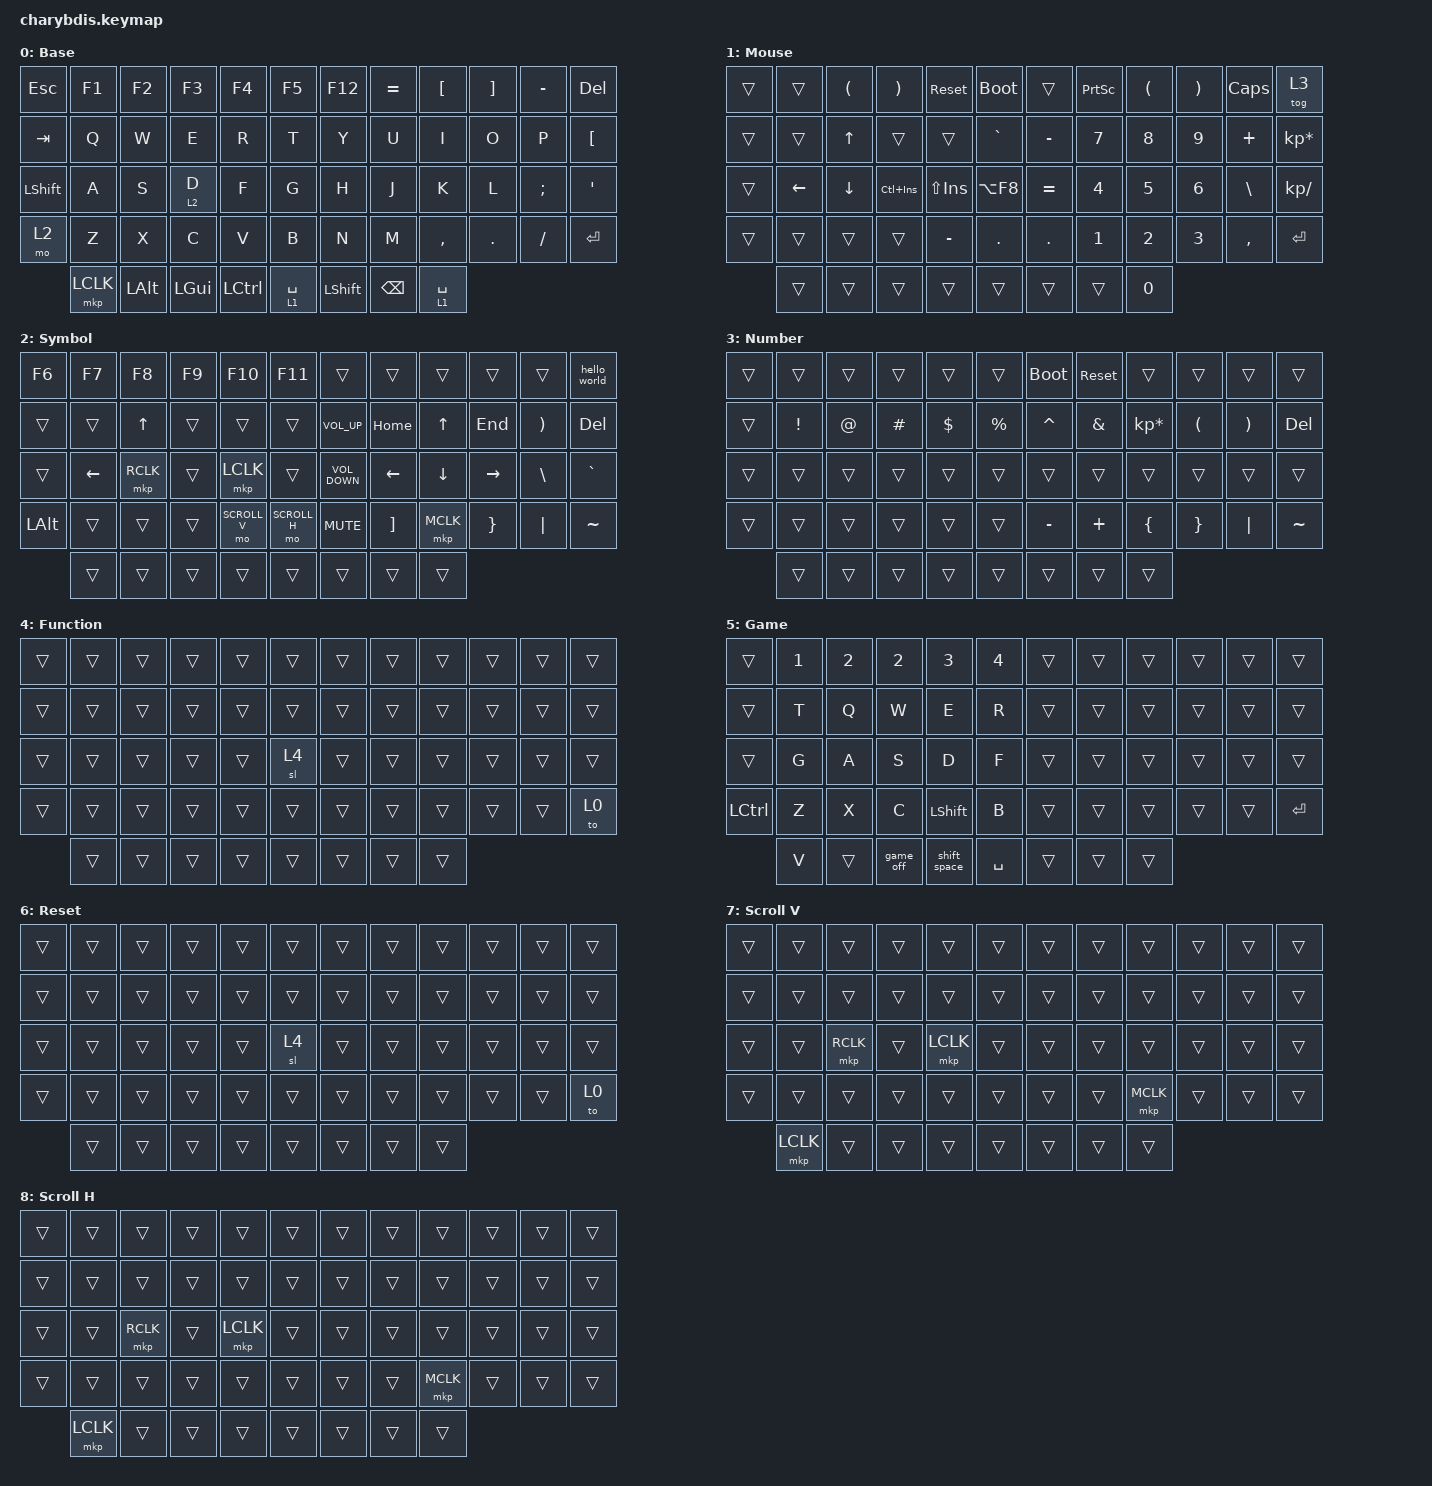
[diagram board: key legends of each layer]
#include <behaviors.dtsi>
#include <dt-bindings/zmk/keys.h>
#include <dt-bindings/zmk/pointing.h>

#define BASE 0
#define MOUSE 1
#define SYMBOL 2
#define NUMBER 3
#define FUNCTION 4
#define GAME 5
#define RESET 6
#define SCROLL_V 7
#define SCROLL_H 8

#define KEYS_L 0 1 2 3 4 10 11 12 13 14 20 21 22 23 24
#define KEYS_R 5 6 7 8 9 15 16 17 18 19 25 26 27 28 29
#define THUMBS 30 31 32 33 34 35 

&sk {
  release-after-ms = <600>;
  quick-release;
};

&sl {
  ignore-modifiers;
};

&mt {
  flavor = "tap-preferred";
};

&lt {
  flavor = "balanced";
  tapping-term-ms = <200>;
  quick-tap-ms = <175>;
};

&caps_word {
  /delete-property/ ignore-modifiers;
};

/ {
  behaviors {
    hml: hml {
      compatible = "zmk,behavior-hold-tap";
      #binding-cells = <2>;
      flavor = "balanced";
      tapping-term-ms = <2000>;
      quick-tap-ms = <175>;
      require-prior-idle-ms = <250>;
      hold-trigger-key-positions = <KEYS_R THUMBS>;
      hold-trigger-on-release;
      bindings =
        <&kp>,
        <&kp>;
    };

    hmr: hmr {
      compatible = "zmk,behavior-hold-tap";
      #binding-cells = <2>;
      flavor = "balanced";
      tapping-term-ms = <2000>;
      quick-tap-ms = <175>;
      require-prior-idle-ms = <250>;
      hold-trigger-key-positions = <KEYS_L THUMBS>;
      hold-trigger-on-release;
      bindings =
        <&kp>,
        <&kp>;
    };
    hml_s: hml_s {
      compatible = "zmk,behavior-hold-tap";
      #binding-cells = <2>;
      flavor = "balanced";
      tapping-term-ms = <2000>;
      quick-tap-ms = <175>;
      require-prior-idle-ms = <0>;
      hold-trigger-key-positions = <KEYS_R THUMBS>;
      hold-trigger-on-release;
      bindings =
        <&kp>,
        <&kp>;
    };

    hmr_s: hmr_s {
      compatible = "zmk,behavior-hold-tap";
      #binding-cells = <2>;
      flavor = "balanced";
      tapping-term-ms = <2000>;
      quick-tap-ms = <175>;
      require-prior-idle-ms = <0>;
      hold-trigger-key-positions = <KEYS_L THUMBS>;
      hold-trigger-on-release;
      bindings =
        <&kp>,
        <&kp>;
    };

    smart_shift: smart_shift {
      compatible = "zmk,behavior-mod-morph";
      #binding-cells = <0>;
      bindings = <&sk LSHIFT>, <&caps_word>;
      mods = <(MOD_LSFT)>;
    };

    // Печатает "Capitalization_event5"
    hello_world: hello_world_macro {
      compatible = "zmk,behavior-macro";
      #binding-cells = <0>;
      bindings = <
        &kp LS(C) &kp A &kp P &kp I &kp T &kp A &kp L &kp I &kp Z &kp A &kp T &kp I &kp O &kp N
        &kp UNDERSCORE
        &kp E &kp V &kp E &kp N &kp T
        &kp N5
      >;
    };

    // Deadlock: дэш (Shift) + прыжок (Space) = dash jump.
    // Окно для прыжка открывается через 0.3 с после начала дэша и длится ~0.2-0.25 с,
    // поэтому пробел жмём через ~380 мс после Shift: 30 мс удержания Shift + 350 мс паузы.
    // Если не срабатывает — двигай 350 в пределах ~290..450.
    // &macro_wait_time задаёт паузу ПОСЛЕ каждого следующего нажатия, поэтому стоит перед &kp LSHFT.
    shift_space: shift_space_macro {
      compatible = "zmk,behavior-macro";
      #binding-cells = <0>;
      tap-ms = <30>;
      bindings = <
        &macro_wait_time 350
        &kp LSHFT
        &macro_wait_time 0
        &kp SPACE
      >;
    };

    // Пока клавиша зажата, слой Game выключен и работает обычный слой (F1-F4 и т.д.).
    // Отпустил — Game снова включается.
    game_off: game_off {
      compatible = "zmk,behavior-macro";
      #binding-cells = <0>;
      wait-ms = <0>;
      tap-ms = <0>;
      bindings
        = <&macro_tap &tog GAME>
        , <&macro_pause_for_release>
        , <&macro_tap &tog GAME>
        ;
    };
  };

  combos {
    compatible = "zmk,combos";
    timeout-ms = <20>;
    require-prior-idle-ms = <250>;

    combo_reset_layer_left {
      key-positions = <20 24>;
      bindings = <&to RESET>;
    };
    combo_reset_layer_right {
      key-positions = <25 29>;
      bindings = <&to RESET>;
    };
    combo_reset_central {
      key-positions = <32 33>;
      bindings = <&bootloader>;
      require-prior-idle-ms = <2000>;
    };
    combo_normal {
      key-positions = <7 8>;
      bindings = <&to BASE>;
    };
    combo_fn {
      key-positions = <27 28>;
      bindings = <&sl FUNCTION>;
    };
    // , + . на правой руке (б + ю в русской раскладке): включить/выключить слой Game
    combo_game {
      key-positions = <44 45>;
      bindings = <&tog GAME>;
    };
    combo_esc {
      key-positions = <1 2>;
      bindings = <&kp ESCAPE>;
    };
    combo_tab {
      key-positions = <2 3>;
      bindings = <&kp TAB>;
    };
    combo_cdel {
      key-positions = <11 12>;
      bindings = <&kp LC(BACKSPACE)>;
    };
    combo_unlock {
      key-positions = <0 4>;
      bindings = <&studio_unlock>;
    };
  };
  chosen {
    zmk,physical-layout = &charybdis_6col_layout;
  };

  keymap {
    compatible = "zmk,keymap";

    Base {
            label = "Base";
            display-name = "Base";
            bindings = <
            // ╭─────────────┬─────────────┬─────────────┬─────────────┬─────────────┬─────────────╮   ╭─────────────┬─────────────┬─────────────┬─────────────┬─────────────┬─────────────╮
                   &kp ESC         &kp F1         &kp F2        &kp F3        &kp F4        &kp F5            &kp F12   &kp EQUAL   &kp LEFT_BRACKET  &kp RBKT     &kp MINUS      &kp DEL
            // ├─────────────┼─────────────┼─────────────┼─────────────┼─────────────┼─────────────┤   ├─────────────┼─────────────┼─────────────┼─────────────┼─────────────┼─────────────┤
                   &kp TAB       &kp Q          &kp W         &kp E         &kp R         &kp T             &kp Y         &kp U         &kp I         &kp O         &kp P      &kp LEFT_BRACKET
            // ├─────────────┼─────────────┼─────────────┼─────────────┼─────────────┼─────────────┤   ├─────────────┼─────────────┼─────────────┼─────────────┼─────────────┼─────────────┤
                  &kp LSHIFT       &kp A          &kp S         &lt 2 D         &kp F         &kp G             &kp H         &kp J         &kp K         &kp L       &kp SEMI      &kp APOS
            // ├─────────────┼─────────────┼─────────────┼─────────────┼─────────────┼─────────────┤   ├─────────────┼─────────────┼─────────────┼─────────────┼─────────────┼─────────────┤
                  &mo 2        &kp Z          &kp X         &kp C         &kp V         &kp B                 &kp N         &kp M      &kp COMMA      &kp DOT       &kp FSLH     &kp ENTER
            // ╰─────────────┴─────────────┼─────────────┼─────────────┼─────────────┼─────────────┤   ├─────────────┼─────────────┼─────────────┼─────────────┼─────────────┴─────────────╯
                              &mkp LCLK      &kp LALT     &kp LEFT_GUI      &kp LCTRL     &lt 1 SPACE       &kp LSHIFT     &kp BSPC      &lt 1 SPACE
            //                                           ╰─────────────┤─────────────┤─────────────┤   ├─────────────┼────────────
            //                                                         ╰─────────────┴─────────────╯   ╰─────────────╯
            >;
        };

    Mouse {
      label = "Mouse";
      display-name = "Mouse";
      bindings = <
            // ╭─────────────┬─────────────┬─────────────┬─────────────┬─────────────┬─────────────╮   ╭─────────────┬─────────────┬─────────────┬─────────────┬─────────────┬─────────────╮
                   &trans         &trans       &kp LPAR       &kp RPAR      &sys_reset   &bootloader         &trans     &kp PSCRN    &kp LPAR       &kp RPAR      &kp CAPS        &tog 3
            // ├─────────────┼─────────────┼─────────────┼─────────────┼─────────────┼─────────────┤   ├─────────────┼─────────────┼─────────────┼─────────────┼─────────────┼─────────────┤
                   &trans         &trans       &kp UP         &trans       &trans       &kp GRAVE          &kp MINUS       &kp N7         &kp N8        &kp N9     &kp PLUS      &kp KP_MULTIPLY
            // ├─────────────┼─────────────┼─────────────┼─────────────┼─────────────┼─────────────┤   ├─────────────┼─────────────┼─────────────┼─────────────┼─────────────┼─────────────┤
                   &trans       &kp LEFT       &kp DOWN    &kp LC(INS)   &kp LS(INS)   &kp LA(F8)           &kp EQUAL      &kp N4         &kp N5        &kp N6      &kp BACKSLASH    &kp KP_DIVIDE
            // ├─────────────┼─────────────┼─────────────┼─────────────┼─────────────┼─────────────┤   ├─────────────┼─────────────┼─────────────┼─────────────┼─────────────┼─────────────┤
                      &trans    &trans        &trans         &trans      &kp MINUS      &kp DOT          &kp DOT      &kp N1         &kp N2        &kp N3        &kp COMMA       &kp ENTER
            // ╰─────────────┴─────────────┼─────────────┼─────────────┼─────────────┼─────────────┤   ├─────────────┼─────────────┼─────────────┼─────────────┼─────────────┴─────────────╯
                                   &trans        &trans         &trans        &trans       &trans            &trans        &trans        &kp N0
            >;
        };

    Sym {
      label = "Symbol";
      display-name = "Symbol";
       bindings = <
      // ╭─────────────┬─────────────┬─────────────┬─────────────┬─────────────┬─────────────╮   ╭─────────────┬─────────────┬─────────────┬─────────────┬─────────────┬─────────────╮
             &kp F6           &kp F7       &kp F8       &kp F9        &kp F10     &kp F11           &trans       &trans         &trans        &trans        &trans        &hello_world
      // ├─────────────┼─────────────┼─────────────┼─────────────┼─────────────┼─────────────┤   ├─────────────┼─────────────┼─────────────┼─────────────┼─────────────┼─────────────┤
             &trans         &trans       &kp UP         &trans       &trans         &trans           &kp C_VOLUME_UP  &kp HOME    &kp UP        &kp END       &kp RPAR      &kp DEL
      // ├─────────────┼─────────────┼─────────────┼─────────────┼─────────────┼─────────────┤   ├─────────────┼─────────────┼─────────────┼─────────────┼─────────────┼─────────────┤
             &trans       &kp LEFT       &mkp RCLK       &trans       &mkp LCLK          &trans           &kp C_VOLUME_DOWN &kp LEFT     &kp DOWN      &kp RIGHT      &kp BSLH      &kp GRAVE
      // ├─────────────┼─────────────┼─────────────┼─────────────┼─────────────┼─────────────┤   ├─────────────┼─────────────┼─────────────┼─────────────┼─────────────┼─────────────┤
           &kp LEFT_ALT    &trans        &trans         &trans   &mo SCROLL_V &mo SCROLL_H           &kp C_MUTE       &kp RBKT     &mkp MCLK      &kp RBRC      &kp PIPE      &kp TILDE
      // ╰─────────────┴─────────────┼─────────────┼─────────────┼─────────────┼─────────────┤   ├─────────────┼─────────────┼─────────────┼─────────────┼─────────────┴─────────────╯
                           &trans      &trans        &trans        &trans       &trans               &trans       &trans        &trans
      //                                           ╰─────────────┤─────────────┤─────────────┤   ├─────────────┼─────────────╯
      >;
    };

    Num {
      label = "Number";
      display-name = "Number";
      bindings = <
      // ╭─────────────┬─────────────┬─────────────┬─────────────┬─────────────┬─────────────╮   ╭─────────────┬─────────────┬─────────────┬─────────────┬─────────────┬─────────────╮
             &trans        &trans         &trans       &trans         &trans       &trans          &bootloader    &sys_reset     &trans        &trans        &trans        &trans
      // ├─────────────┼─────────────┼─────────────┼─────────────┼─────────────┼─────────────┤   ├─────────────┼─────────────┼─────────────┼─────────────┼─────────────┼─────────────┤
             &trans        &kp EXCL       &kp AT      &kp HASH       &kp DLLR     &kp PRCNT         &kp CARET      &kp AMPS    &kp KP_MULTIPLY &kp LPAR      &kp RPAR      &kp DEL
      // ├─────────────┼─────────────┼─────────────┼─────────────┼─────────────┼─────────────┤   ├─────────────┼─────────────┼─────────────┼─────────────┼─────────────┼─────────────┤
             &trans        &trans         &trans       &trans         &trans       &trans           &trans          &trans      &trans        &trans        &trans        &trans
      // ├─────────────┼─────────────┼─────────────┼─────────────┼─────────────┼─────────────┤   ├─────────────┼─────────────┼─────────────┼─────────────┼─────────────┼─────────────┤
             &trans        &trans        &trans        &trans         &trans       &trans           &kp MINUS      &kp PLUS     &kp LBRC      &kp RBRC      &kp PIPE      &kp TILDE
      // ╰─────────────┴─────────────┼─────────────┼─────────────┼─────────────┼─────────────┤   ├─────────────┼─────────────┼─────────────┼─────────────┼─────────────┴─────────────╯
                           &trans        &trans         &trans        &trans       &trans            &trans        &trans        &trans
      //                                           ╰─────────────┤─────────────┤─────────────┤   ├─────────────┼─────────────╯
      >;
    };

    Fun {
      label = "Function";
      display-name = "Function";
      bindings = <
      // ╭─────────────┬─────────────┬─────────────┬─────────────┬─────────────┬─────────────╮   ╭─────────────┬─────────────┬─────────────┬─────────────┬─────────────┬─────────────╮
             &trans        &trans         &trans       &trans         &trans       &trans           &trans         &trans         &trans        &trans        &trans        &trans
      // ├─────────────┼─────────────┼─────────────┼─────────────┼─────────────┼─────────────┤   ├─────────────┼─────────────┼─────────────┼─────────────┼─────────────┼─────────────┤
             &trans        &trans         &trans       &trans         &trans       &trans           &trans         &trans         &trans        &trans        &trans        &trans
      // ├─────────────┼─────────────┼─────────────┼─────────────┼─────────────┼─────────────┤   ├─────────────┼─────────────┼─────────────┼─────────────┼─────────────┼─────────────┤
             &trans        &trans         &trans       &trans         &trans        &sl 4           &trans         &trans         &trans        &trans        &trans        &trans
      // ├─────────────┼─────────────┼─────────────┼─────────────┼─────────────┼─────────────┤   ├─────────────┼─────────────┼─────────────┼─────────────┼─────────────┼─────────────┤
             &trans        &trans         &trans       &trans         &trans       &trans           &trans         &trans         &trans        &trans        &trans        &to 0
      // ╰─────────────┴─────────────┼─────────────┼─────────────┼─────────────┼─────────────┤   ├─────────────┼─────────────┼─────────────┼─────────────┼─────────────┴─────────────╯
                           &trans        &trans         &trans        &trans       &trans            &trans        &trans        &trans
      //                                           ╰─────────────┤─────────────┤─────────────┤   ├─────────────┼─────────────╯
      >;
    };

    Button {
      label = "Game";
      display-name = "Game";
      bindings = <
      // ╭─────────────┬─────────────┬─────────────┬─────────────┬─────────────┬─────────────╮   ╭─────────────┬─────────────┬─────────────┬─────────────┬─────────────┬─────────────╮
             &trans        &kp N1       &kp N2         &kp N2         &kp N3      &kp N4              &trans         &trans         &trans        &trans        &trans        &trans
      // ├─────────────┼─────────────┼─────────────┼─────────────┼─────────────┼─────────────┤   ├─────────────┼─────────────┼─────────────┼─────────────┼─────────────┼─────────────┤
             &trans        &kp T          &kp Q        &kp W          &kp E        &kp R            &trans         &trans         &trans        &trans        &trans        &trans
      // ├─────────────┼─────────────┼─────────────┼─────────────┼─────────────┼─────────────┤   ├─────────────┼─────────────┼─────────────┼─────────────┼─────────────┼─────────────┤
             &trans        &kp G          &kp A        &kp S          &kp D        &kp F            &trans         &trans         &trans        &trans        &trans        &trans
      // ├─────────────┼─────────────┼─────────────┼─────────────┼─────────────┼─────────────┤   ├─────────────┼─────────────┼─────────────┼─────────────┼─────────────┼─────────────┤
             &kp LCTRL      &kp Z          &kp X        &kp C      &kp LSHFT          &kp B            &trans       &trans      &trans        &trans        &trans        &kp ENTER
      // ╰─────────────┴─────────────┼─────────────┼─────────────┼─────────────┼─────────────┤   ├─────────────┼─────────────┼─────────────┼─────────────┼─────────────┴─────────────╯
                           &kp V         &trans       &game_off    &shift_space   &kp SPACE        &trans        &trans        &trans
      //                                           ╰─────────────┤─────────────┤─────────────┤   ├─────────────┼─────────────╯
      >;
    };

    Reset {
      label = "Reset";
      display-name = "Reset";
      bindings = <
      // ╭─────────────┬─────────────┬─────────────┬─────────────┬─────────────┬─────────────╮   ╭─────────────┬─────────────┬─────────────┬─────────────┬─────────────┬─────────────╮
             &trans        &trans         &trans       &trans         &trans       &trans           &trans         &trans         &trans        &trans        &trans        &trans
      // ├─────────────┼─────────────┼─────────────┼─────────────┼─────────────┼─────────────┤   ├─────────────┼─────────────┼─────────────┼─────────────┼─────────────┼─────────────┤
             &trans        &trans         &trans       &trans         &trans       &trans           &trans         &trans         &trans        &trans        &trans        &trans
      // ├─────────────┼─────────────┼─────────────┼─────────────┼─────────────┼─────────────┤   ├─────────────┼─────────────┼─────────────┼─────────────┼─────────────┼─────────────┤
             &trans        &trans         &trans       &trans         &trans        &sl 4           &trans         &trans         &trans        &trans        &trans        &trans
      // ├─────────────┼─────────────┼─────────────┼─────────────┼─────────────┼─────────────┤   ├─────────────┼─────────────┼─────────────┼─────────────┼─────────────┼─────────────┤
             &trans        &trans         &trans       &trans         &trans       &trans           &trans         &trans         &trans        &trans        &trans        &to 0
      // ╰─────────────┴─────────────┼─────────────┼─────────────┼─────────────┼─────────────┤   ├─────────────┼─────────────┼─────────────┼─────────────┼─────────────┴─────────────╯
                           &trans        &trans         &trans        &trans       &trans            &trans        &trans        &trans
      //                                           ╰─────────────┤─────────────┤─────────────┤   ├─────────────┼─────────────╯
      >;
    };

    ScrollV {
      // Слой 7: шар = вертикальный скролл (Symbol + V)
      // Клики продублированы со слоя Symbol, чтобы работали, даже если D уже отпущена.
      label = "Scroll V";
      display-name = "Scroll V";
      bindings = <
      // ╭─────────────┬─────────────┬─────────────┬─────────────┬─────────────┬─────────────╮   ╭─────────────┬─────────────┬─────────────┬─────────────┬─────────────┬─────────────╮
             &trans        &trans         &trans       &trans         &trans       &trans           &trans         &trans         &trans        &trans        &trans        &trans
      // ├─────────────┼─────────────┼─────────────┼─────────────┼─────────────┼─────────────┤   ├─────────────┼─────────────┼─────────────┼─────────────┼─────────────┼─────────────┤
             &trans        &trans         &trans       &trans         &trans       &trans           &trans         &trans         &trans        &trans        &trans        &trans
      // ├─────────────┼─────────────┼─────────────┼─────────────┼─────────────┼─────────────┤   ├─────────────┼─────────────┼─────────────┼─────────────┼─────────────┼─────────────┤
             &trans        &trans       &mkp RCLK      &trans       &mkp LCLK      &trans           &trans         &trans         &trans        &trans        &trans        &trans
      // ├─────────────┼─────────────┼─────────────┼─────────────┼─────────────┼─────────────┤   ├─────────────┼─────────────┼─────────────┼─────────────┼─────────────┼─────────────┤
             &trans        &trans         &trans       &trans         &trans       &trans           &trans         &trans       &mkp MCLK       &trans        &trans        &trans
      // ╰─────────────┴─────────────┼─────────────┼─────────────┼─────────────┼─────────────┤   ├─────────────┼─────────────┼─────────────┼─────────────┼─────────────┴─────────────╯
                          &mkp LCLK      &trans         &trans        &trans       &trans            &trans        &trans        &trans
      //                                           ╰─────────────┤─────────────┤─────────────┤   ├─────────────┼─────────────╯
      >;
    };

    ScrollH {
      // Слой 8: шар = горизонтальный скролл (Symbol + B)
      // Клики продублированы со слоя Symbol, чтобы работали, даже если D уже отпущена.
      label = "Scroll H";
      display-name = "Scroll H";
      bindings = <
      // ╭─────────────┬─────────────┬─────────────┬─────────────┬─────────────┬─────────────╮   ╭─────────────┬─────────────┬─────────────┬─────────────┬─────────────┬─────────────╮
             &trans        &trans         &trans       &trans         &trans       &trans           &trans         &trans         &trans        &trans        &trans        &trans
      // ├─────────────┼─────────────┼─────────────┼─────────────┼─────────────┼─────────────┤   ├─────────────┼─────────────┼─────────────┼─────────────┼─────────────┼─────────────┤
             &trans        &trans         &trans       &trans         &trans       &trans           &trans         &trans         &trans        &trans        &trans        &trans
      // ├─────────────┼─────────────┼─────────────┼─────────────┼─────────────┼─────────────┤   ├─────────────┼─────────────┼─────────────┼─────────────┼─────────────┼─────────────┤
             &trans        &trans       &mkp RCLK      &trans       &mkp LCLK      &trans           &trans         &trans         &trans        &trans        &trans        &trans
      // ├─────────────┼─────────────┼─────────────┼─────────────┼─────────────┼─────────────┤   ├─────────────┼─────────────┼─────────────┼─────────────┼─────────────┼─────────────┤
             &trans        &trans         &trans       &trans         &trans       &trans           &trans         &trans       &mkp MCLK       &trans        &trans        &trans
      // ╰─────────────┴─────────────┼─────────────┼─────────────┼─────────────┼─────────────┤   ├─────────────┼─────────────┼─────────────┼─────────────┼─────────────┴─────────────╯
                          &mkp LCLK      &trans         &trans        &trans       &trans            &trans        &trans        &trans
      //                                           ╰─────────────┤─────────────┤─────────────┤   ├─────────────┼─────────────╯
      >;
    };
  };
};
